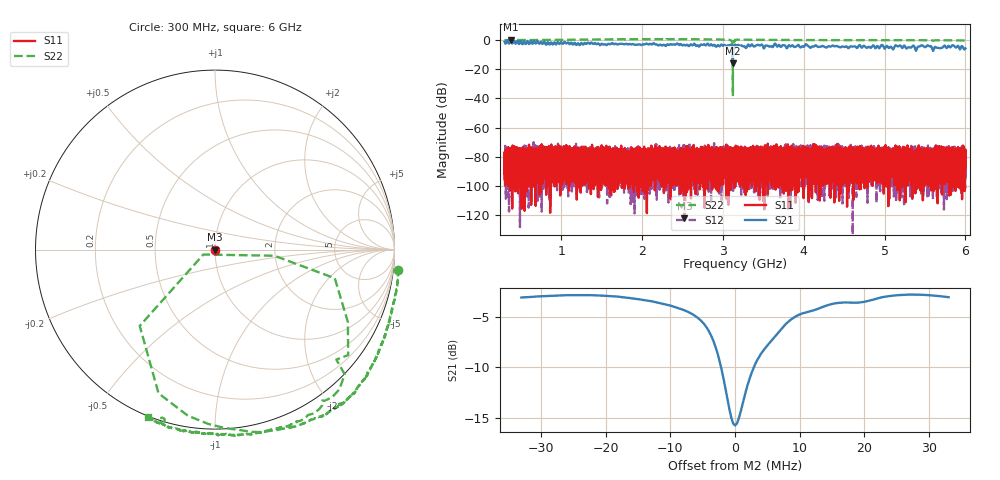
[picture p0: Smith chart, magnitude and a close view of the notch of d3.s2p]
!Agilent Technologies,N5230C,SG49000117,A.08.50.07
!Agilent N5230C: A.08.50.07
!Date: Sunday, March 17, 2024 09:03:04
!Correction: S11(Off)
!S21(Off)
!S12(Off)
!S22(Full 1 Port(2))
!S2P File: Measurements: S11, S21, S12, S22:
# Hz S  RI  R 50
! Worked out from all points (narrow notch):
!   20001 points, 300 MHz to 6 GHz, reference 50 ohm
!   highest |S21| = 0.47 dB at 374.4 MHz (marker M1); lowest = -15.7 dB at 3.122 GHz (marker M2)
!   notch at M2: 12.4 dB deep, 5.56 MHz wide at half that depth
!   lowest |S11| = -122.5 dB at 2.525 GHz (marker M3), VSWR 1.00, Z = 50 + j1.4e-06 ohm
!   |S11| at or under -10 dB: start of sweep to end of sweep
!   |S22| runs from -38.4 to 1.0 dB; largest |S21 - S12| = 1.1
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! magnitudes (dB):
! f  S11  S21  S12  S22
! 300 MHz  -95.7  -0.9  -83.0  0.2
! 374.4 MHz  -76.7  0.5  -78.4  0.3
! 1.25 GHz  -78.3  -1.7  -89.9  0.6
! 2.2 GHz  -88.7  -3.4  -82.9  0.9
! 2.525 GHz  -122.5  -3.1  -83.2  0.9
! 3.065 GHz  -79.6  -3.3  -87.1  0.5
! 3.122 GHz  -74.3  -15.7  -88.8  -12.5
! 3.15 GHz  -80.1  -2.8  -81.2  0.4
! 3.159 GHz  -78.3  -3.5  -83.1  0.3
! 3.191 GHz  -83.7  -3.0  -77.2  0.5
! 3.978 GHz  -82.7  -4.0  -87.3  0.3
! 4.036 GHz  -86.1  -2.9  -86.5  0.2
! 4.1 GHz  -87.9  -4.3  -78.0  0.3
! 5.05 GHz  -81.7  -5.1  -80.0  0.2
! 5.166 GHz  -78.9  -4.1  -76.6  0.2
! 5.397 GHz  -76.1  -6.2  -82.5  0.2
! 5.445 GHz  -88.9  -3.7  -92.3  0.2
! 5.548 GHz  -78.9  -3.8  -86.1  0.1
! 5.614 GHz  -82.1  -5.3  -76.4  0.0
! 5.847 GHz  -80.7  -3.3  -83.8  0.1
! 5.971 GHz  -80.1  -4.8  -82.6  0.0
! 6 GHz  -76.0  -5.5  -81.2  0.1
